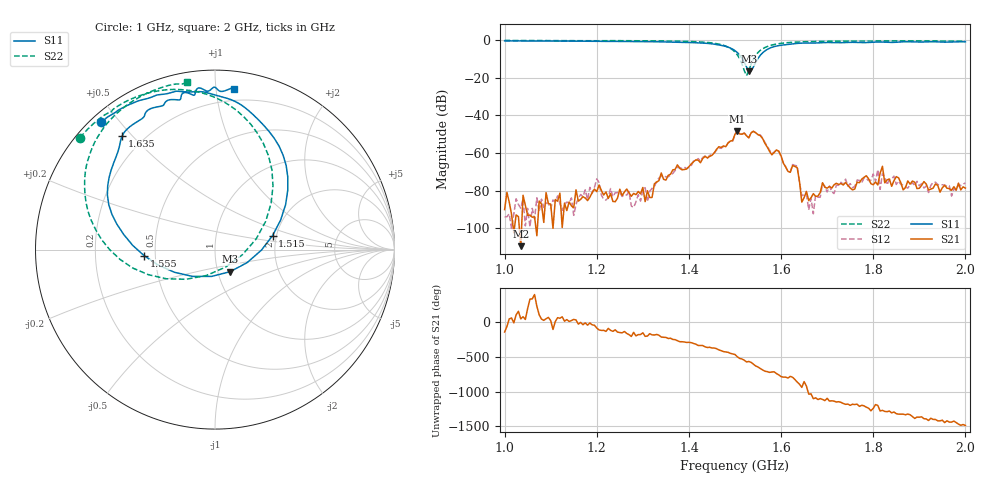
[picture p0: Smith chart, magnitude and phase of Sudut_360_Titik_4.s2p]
# Hz S RI R 50
! CMT, C1220, 16058040, 17.2.0/1
! Date: 14/08/2018 12:34:16
! Data: Format (Calibration Info)
! Freq  S11: Re/Im (F2)  S21: Re/Im (F2)  S12: Re/Im (F2)  S22: Re/Im (F2)
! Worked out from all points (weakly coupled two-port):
!   201 points, 1 GHz to 2 GHz, reference 50 ohm
!   highest |S21| = -48.41 dB at 1.505 GHz (marker M1); lowest = -109.6 dB at 1.035 GHz (marker M2)
!   lowest |S11| = -16.5 dB at 1.53 GHz (marker M3), VSWR 1.35, Z = 57.4 - j14.4 ohm
!   |S11| at or under -10 dB: 1.516 GHz to 1.549 GHz (33.38 MHz wide, 2.18 % of centre)
!   |S22| runs from -18.9 to -0.2 dB; largest |S21 - S12| = 0.0003
!   S11 on the Smith chart (normalised r, x): 1 GHz: 0.03, +0.45; 1.515 GHz: 1.91, +0.33; 1.555 GHz: 0.43, -0.04; 1.635 GHz: 0.12, +0.47; 2 GHz: 0.12, +1.12
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1e9  -0.6342 0.709  -2.39e-05 -2e-05  -1.38e-05 -1.42e-05  -0.7531 0.624
1.035e9  -0.605 0.734  2.14e-06 2.54e-06  -2.83e-05 1.86e-05  -0.7295 0.6502
1.17e9  -0.4571 0.8166  5.67e-05 -3.86e-05  6.83e-05 -2.71e-06  -0.6172 0.7492
1.315e9  -0.2199 0.8816  -6.27e-05 -1.81e-05  -9.62e-05 1e-05  -0.4394 0.8504
1.335e9  -0.1921 0.8807  -0.000183 2.17e-05  -0.000206 6.13e-05  -0.4016 0.8636
1.45e9  0.1915 0.7705  0.000849 -0.000157  0.00089 -0.000174  0.0198 0.8384
1.5e9  0.4055 0.3319  -0.000799 -0.00305  -0.000721 -0.00288  0.3232 0.3551
1.505e9  0.3935 0.2508  -0.00278 -0.00258  -0.00257 -0.00258  0.3128 0.2593
1.515e9  0.3208 0.0782  -0.0031 -0.000583  -0.00307 -0.000697  0.2294 0.0595
1.53e9  0.0852 -0.1227  -0.00229 0.00109  -0.00226 0.00108  -0.0489 -0.1445
1.555e9  -0.3942 -0.0345  0.00172 0.00232  0.0017 0.00246  -0.5304 -0.0536
1.615e9  -0.5415 0.5436  2.97e-05 -0.000322  2.97e-05 -0.000318  -0.7153 0.4723
1.635e9  -0.5179 0.6317  -0.000324 -0.000247  -0.000332 -0.000308  -0.6856 0.5635
1.645e9  -0.4929 0.6683  -3.8e-05 3.14e-05  -7.22e-05 8.6e-06  -0.6693 0.6001
1.67e9  -0.4085 0.7283  7.63e-05 -3.22e-05  2.41e-05 -8.97e-07  -0.6254 0.6714
1.805e9  -0.1824 0.8686  -5.06e-05 -0.000161  -0.000155 8.19e-05  -0.4189 0.851
1.81e9  -0.1752 0.8737  -7.27e-05 -0.000121  -0.000361 -2.56e-05  -0.4121 0.8549
1.815e9  -0.1662 0.8754  -0.000273 0.000101  -8.54e-05 6.57e-05  -0.4053 0.8582
1.82e9  -0.1552 0.8737  -0.000433 8.45e-05  -0.000283 -2.85e-05  -0.3983 0.8615
1.825e9  -0.1429 0.8698  -0.000144 7.11e-05  -0.000207 0.000111  -0.3917 0.8646
1.835e9  -0.1225 0.8609  -0.000188 7.37e-05  -0.000165 0.000108  -0.3783 0.8715
2e9  0.1069 0.8934  7.6e-05 -8.78e-05  8.17e-05 -0.000138  -0.1552 0.9315
